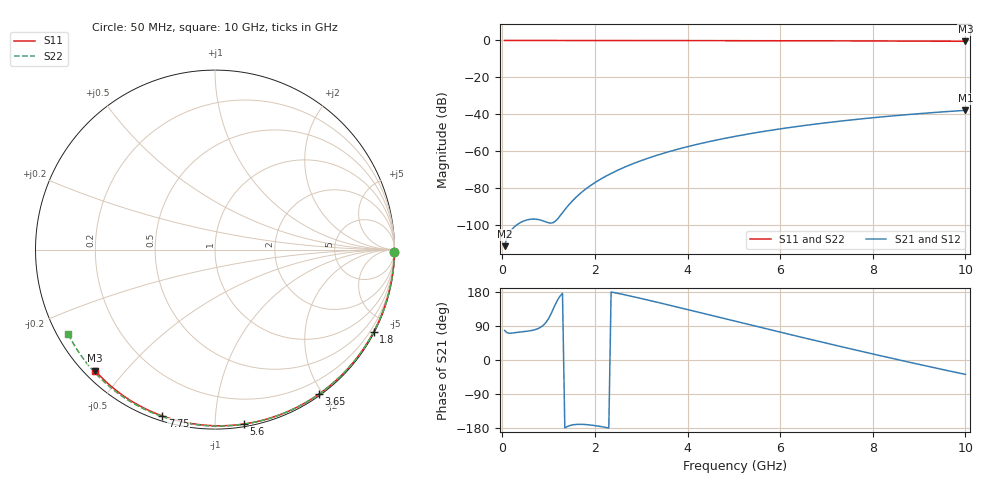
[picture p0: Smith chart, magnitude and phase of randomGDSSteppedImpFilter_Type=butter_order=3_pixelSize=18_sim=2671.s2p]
! freq	dB(S11)	phase(S11)	dB(S12)	phase(S12)
!  dB(S21)	phase(S21)	dB(S22)	phase(S22)
!S-par simulation data
#  GHz  S  DB  R 50
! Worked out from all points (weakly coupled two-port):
!   200 points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, 50 MHz to 10 GHz, reference 50 ohm
!   highest |S21| = -37.79 dB at 10 GHz (marker M1); lowest = -111.3 dB at 50 MHz (marker M2)
!   lowest |S11| = -0.5 dB at 10 GHz (marker M3), VSWR 38.23, Z = 1.54 - j20.9 ohm
!   |S11| at or under -10 dB: nowhere
!   |S22| runs from -0.5 to 0.0 dB; largest |S21 - S12| = 0
!   S11 on the Smith chart (normalised r, x): 50 MHz: open; 1.8 GHz: 0.04, -4.11; 3.65 GHz: 0.02, -1.95; 5.6 GHz: 0.02, -1.18; 7.75 GHz: 0.02, -0.73; 10 GHz: 0.03, -0.42
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0.05  -0.00 -0.8  -111.27 78.0  -111.27 78.0  -0.00 -0.9
0.45  -0.01 -6.9  -97.78 74.8  -97.78 74.8  -0.01 -7.8
0.9  -0.02 -13.8  -97.76 93.3  -97.76 93.3  -0.02 -15.6
1.3  -0.02 -19.9  -93.16 175.8  -93.16 175.8  -0.03 -22.4
1.75  -0.03 -26.6  -81.37 -170.0  -81.37 -170.0  -0.04 -30.0
1.8  -0.03 -27.4  -80.38 -170.4  -80.38 -170.4  -0.04 -30.9
1.85  -0.04 -28.1  -79.46 -170.9  -79.46 -170.9  -0.04 -31.7
2.05  -0.04 -31.1  -76.10 -174.0  -76.10 -174.0  -0.04 -35.0
2.2  -0.04 -33.3  -73.92 -177.1  -73.92 -177.1  -0.05 -37.5
2.5  -0.05 -37.7  -70.12 175.8  -70.12 175.8  -0.05 -42.5
2.9  -0.06 -43.5  -65.92 165.1  -65.92 165.1  -0.06 -49.0
3.4  -0.07 -50.7  -61.63 150.8  -61.63 150.8  -0.08 -57.0
3.65  -0.07 -54.2  -59.79 143.5  -59.79 143.5  -0.08 -60.9
4.3  -0.09 -63.2  -55.65 124.1  -55.65 124.1  -0.10 -71.0
5.05  -0.11 -73.4  -51.78 101.7  -51.78 101.7  -0.13 -82.2
5.6  -0.13 -80.6  -49.38 85.4  -49.38 85.4  -0.15 -90.2
6.15  -0.16 -87.7  -47.29 69.1  -47.29 69.1  -0.18 -98.1
6.7  -0.18 -94.6  -45.43 53.1  -45.43 53.1  -0.21 -105.8
7.75  -0.25 -107.6  -42.43 23.0  -42.43 23.0  -0.28 -120.1
8.35  -0.29 -114.8  -40.98 6.2  -40.98 6.2  -0.33 -128.2
9.2  -0.37 -125.0  -39.20 -17.0  -39.20 -17.0  -0.41 -139.5
10  -0.45 -134.7  -37.79 -38.0  -37.79 -38.0  -0.51 -150.2
